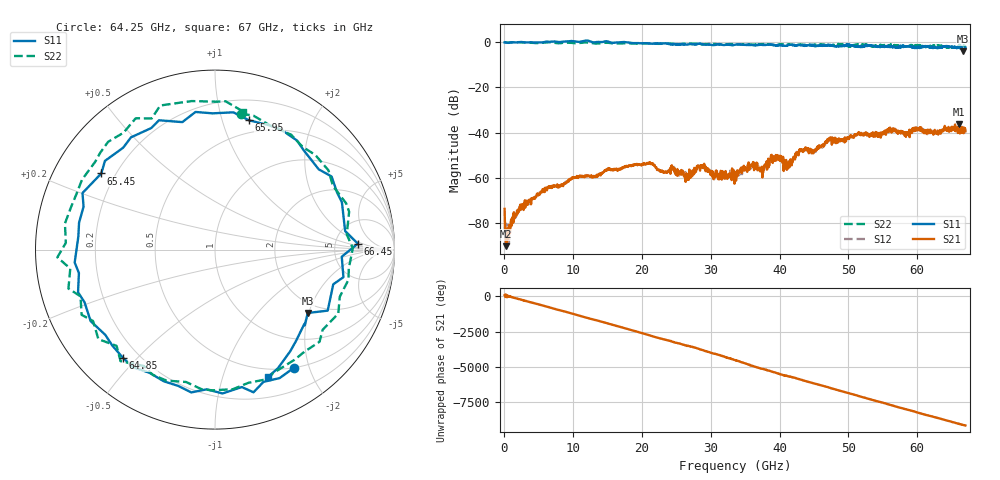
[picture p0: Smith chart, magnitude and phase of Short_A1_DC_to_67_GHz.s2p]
#  HZ  S  MA  R  50.00
! Rohde & Schwarz ZVA67 4Ports - Version 4.11 - 1305.7002k04 SN: 101051
! Date: 2023-05-31 13:59:15
! Measurements: S11 S21 S12 S22
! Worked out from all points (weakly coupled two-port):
!   1340 points, 50 MHz to 67 GHz, reference 50 ohm
!   highest |S21| = -36.37 dB at 66.1 GHz (marker M1); lowest = -90.2 dB at 250 MHz (marker M2)
!   lowest |S11| = -4.1 dB at 66.7 GHz (marker M3), VSWR 4.34, Z = 84.9 - j98.5 ohm
!   |S11| at or under -10 dB: nowhere
!   |S22| runs from -2.6 to 0.0 dB; largest |S21 - S12| = 0.0072
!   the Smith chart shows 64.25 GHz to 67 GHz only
!   S11 on the Smith chart (normalised r, x): 64.25 GHz: 0.50, -1.77; 64.85 GHz: 0.14, -0.45; 65.45 GHz: 0.15, +0.30; 65.95 GHz: 0.38, +1.23; 66.45 GHz: 8.54, +1.54; 67 GHz: 0.41, -1.42
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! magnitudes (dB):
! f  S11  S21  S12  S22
! 50 MHz  -0.1  -73.7  -81.4  0.0
! 250 MHz  -0.2  -90.2  -89.2  -0.1
! 6 GHz  0.2  -64.6  -65.4  -0.1
! 11.25 GHz  0.3  -59.0  -59.5  -0.3
! 20.95 GHz  -0.6  -53.6  -53.8  -0.5
! 22.4 GHz  -0.5  -56.4  -56.1  -0.7
! 26.5 GHz  -1.1  -58.4  -57.8  -0.5
! 28.8 GHz  -0.9  -55.6  -55.1  -1.0
! 30.4 GHz  -1.3  -60.5  -60.6  -0.7
! 33.55 GHz  -1.1  -58.7  -58.7  -1.0
! 41.2 GHz  -1.4  -55.9  -54.9  -1.0
! 44.7 GHz  -1.5  -48.5  -48.3  -1.2
! 47.25 GHz  -1.5  -42.5  -43.2  -1.5
! 55.85 GHz  -1.9  -39.7  -39.9  -1.3
! 64.25 GHz  -2.0  -39.1  -38.0  -2.2
! 64.85 GHz  -2.0  -39.1  -38.7  -2.5
! 65.45 GHz  -2.4  -39.1  -38.2  -2.1
! 65.95 GHz  -2.6  -39.9  -39.3  -1.6
! 66.1 GHz  -2.4  -36.4  -40.0  -1.8
! 66.45 GHz  -2.0  -37.7  -38.7  -1.6
! 66.7 GHz  -4.1  -40.1  -40.3  -1.8
! 67 GHz  -2.3  -39.4  -39.6  -2.1
